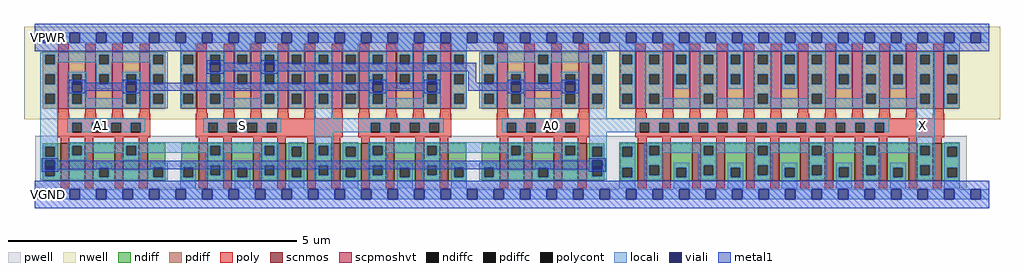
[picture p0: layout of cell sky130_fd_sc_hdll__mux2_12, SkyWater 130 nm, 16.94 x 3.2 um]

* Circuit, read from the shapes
.subckt sky130_fd_sc_hdll__mux2_12 A0 A1 S VGND VNB VPB VPWR X
XM1 n1 A1 n2 VNB sky130_fd_pr__nfet_01v8 w=0.65 l=0.15 m=4
XM2 n1 S VGND VNB sky130_fd_pr__nfet_01v8 w=0.65 l=0.15 m=4
XM3 n3 S VGND VNB sky130_fd_pr__nfet_01v8 w=0.65 l=0.15 m=2
XM4 n4 n3 VGND VNB sky130_fd_pr__nfet_01v8 w=0.65 l=0.15 m=4
XM5 n4 A0 n2 VNB sky130_fd_pr__nfet_01v8 w=0.65 l=0.15 m=4
XM6 X n2 VGND VNB sky130_fd_pr__nfet_01v8 w=0.65 l=0.15 m=12
XM7 n5 A1 n2 VPB sky130_fd_pr__pfet_01v8_hvt w=1 l=0.18 m=4
XM8 n6 S VPWR VPB sky130_fd_pr__pfet_01v8_hvt w=1 l=0.18 m=4
XM9 n3 S VPWR VPB sky130_fd_pr__pfet_01v8_hvt w=1 l=0.18 m=2
XM10 n5 n3 VPWR VPB sky130_fd_pr__pfet_01v8_hvt w=1 l=0.18 m=4
XM11 n6 A0 n2 VPB sky130_fd_pr__pfet_01v8_hvt w=1 l=0.18 m=4
XM12 X n2 VPWR VPB sky130_fd_pr__pfet_01v8_hvt w=1 l=0.18 m=12
.ends

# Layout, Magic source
magic
tech sky130A
magscale 1 2
<< nwell >>
rect -38 261 3350 582
<< pwell >>
rect 1 21 3235 203
rect 30 -17 64 21
<< scnmos >>
rect 89 47 119 177
rect 173 47 203 177
rect 277 47 307 177
rect 361 47 391 177
rect 569 47 599 177
rect 653 47 683 177
rect 757 47 787 177
rect 841 47 871 177
rect 945 47 975 177
rect 1029 47 1059 177
rect 1133 47 1163 177
rect 1217 47 1247 177
rect 1321 47 1351 177
rect 1405 47 1435 177
rect 1613 47 1643 177
rect 1697 47 1727 177
rect 1801 47 1831 177
rect 1885 47 1915 177
rect 2093 47 2123 177
rect 2177 47 2207 177
rect 2281 47 2311 177
rect 2365 47 2395 177
rect 2469 47 2499 177
rect 2553 47 2583 177
rect 2657 47 2687 177
rect 2741 47 2771 177
rect 2845 47 2875 177
rect 2929 47 2959 177
rect 3033 47 3063 177
rect 3117 47 3147 177
<< scpmoshvt >>
rect 81 297 117 497
rect 175 297 211 497
rect 269 297 305 497
rect 363 297 399 497
rect 561 297 597 497
rect 655 297 691 497
rect 749 297 785 497
rect 843 297 879 497
rect 937 297 973 497
rect 1031 297 1067 497
rect 1125 297 1161 497
rect 1219 297 1255 497
rect 1313 297 1349 497
rect 1407 297 1443 497
rect 1605 297 1641 497
rect 1699 297 1735 497
rect 1793 297 1829 497
rect 1887 297 1923 497
rect 2085 297 2121 497
rect 2179 297 2215 497
rect 2273 297 2309 497
rect 2367 297 2403 497
rect 2461 297 2497 497
rect 2555 297 2591 497
rect 2649 297 2685 497
rect 2743 297 2779 497
rect 2837 297 2873 497
rect 2931 297 2967 497
rect 3025 297 3061 497
rect 3119 297 3155 497
<< ndiff >>
rect 27 165 89 177
rect 27 131 35 165
rect 69 131 89 165
rect 27 97 89 131
rect 27 63 35 97
rect 69 63 89 97
rect 27 47 89 63
rect 119 169 173 177
rect 119 135 129 169
rect 163 135 173 169
rect 119 47 173 135
rect 203 93 277 177
rect 203 59 223 93
rect 257 59 277 93
rect 203 47 277 59
rect 307 169 361 177
rect 307 135 317 169
rect 351 135 361 169
rect 307 47 361 135
rect 391 94 453 177
rect 391 60 411 94
rect 445 60 453 94
rect 391 47 453 60
rect 507 94 569 177
rect 507 60 515 94
rect 549 60 569 94
rect 507 47 569 60
rect 599 169 653 177
rect 599 135 609 169
rect 643 135 653 169
rect 599 101 653 135
rect 599 67 609 101
rect 643 67 653 101
rect 599 47 653 67
rect 683 93 757 177
rect 683 59 703 93
rect 737 59 757 93
rect 683 47 757 59
rect 787 169 841 177
rect 787 135 797 169
rect 831 135 841 169
rect 787 101 841 135
rect 787 67 797 101
rect 831 67 841 101
rect 787 47 841 67
rect 871 165 945 177
rect 871 131 891 165
rect 925 131 945 165
rect 871 93 945 131
rect 871 59 891 93
rect 925 59 945 93
rect 871 47 945 59
rect 975 169 1029 177
rect 975 135 985 169
rect 1019 135 1029 169
rect 975 101 1029 135
rect 975 67 985 101
rect 1019 67 1029 101
rect 975 47 1029 67
rect 1059 165 1133 177
rect 1059 131 1079 165
rect 1113 131 1133 165
rect 1059 93 1133 131
rect 1059 59 1079 93
rect 1113 59 1133 93
rect 1059 47 1133 59
rect 1163 169 1217 177
rect 1163 135 1173 169
rect 1207 135 1217 169
rect 1163 101 1217 135
rect 1163 67 1173 101
rect 1207 67 1217 101
rect 1163 47 1217 67
rect 1247 93 1321 177
rect 1247 59 1267 93
rect 1301 59 1321 93
rect 1247 47 1321 59
rect 1351 169 1405 177
rect 1351 135 1361 169
rect 1395 135 1405 169
rect 1351 101 1405 135
rect 1351 67 1361 101
rect 1395 67 1405 101
rect 1351 47 1405 67
rect 1435 94 1497 177
rect 1435 60 1455 94
rect 1489 60 1497 94
rect 1435 47 1497 60
rect 1551 94 1613 177
rect 1551 60 1559 94
rect 1593 60 1613 94
rect 1551 47 1613 60
rect 1643 169 1697 177
rect 1643 135 1653 169
rect 1687 135 1697 169
rect 1643 47 1697 135
rect 1727 93 1801 177
rect 1727 59 1747 93
rect 1781 59 1801 93
rect 1727 47 1801 59
rect 1831 169 1885 177
rect 1831 135 1841 169
rect 1875 135 1885 169
rect 1831 47 1885 135
rect 1915 165 1977 177
rect 1915 131 1935 165
rect 1969 131 1977 165
rect 1915 97 1977 131
rect 1915 63 1935 97
rect 1969 63 1977 97
rect 1915 47 1977 63
rect 2031 165 2093 177
rect 2031 131 2039 165
rect 2073 131 2093 165
rect 2031 93 2093 131
rect 2031 59 2039 93
rect 2073 59 2093 93
rect 2031 47 2093 59
rect 2123 169 2177 177
rect 2123 135 2133 169
rect 2167 135 2177 169
rect 2123 101 2177 135
rect 2123 67 2133 101
rect 2167 67 2177 101
rect 2123 47 2177 67
rect 2207 93 2281 177
rect 2207 59 2227 93
rect 2261 59 2281 93
rect 2207 47 2281 59
rect 2311 169 2365 177
rect 2311 135 2321 169
rect 2355 135 2365 169
rect 2311 101 2365 135
rect 2311 67 2321 101
rect 2355 67 2365 101
rect 2311 47 2365 67
rect 2395 93 2469 177
rect 2395 59 2415 93
rect 2449 59 2469 93
rect 2395 47 2469 59
rect 2499 169 2553 177
rect 2499 135 2509 169
rect 2543 135 2553 169
rect 2499 101 2553 135
rect 2499 67 2509 101
rect 2543 67 2553 101
rect 2499 47 2553 67
rect 2583 93 2657 177
rect 2583 59 2603 93
rect 2637 59 2657 93
rect 2583 47 2657 59
rect 2687 169 2741 177
rect 2687 135 2697 169
rect 2731 135 2741 169
rect 2687 101 2741 135
rect 2687 67 2697 101
rect 2731 67 2741 101
rect 2687 47 2741 67
rect 2771 94 2845 177
rect 2771 60 2791 94
rect 2825 60 2845 94
rect 2771 47 2845 60
rect 2875 169 2929 177
rect 2875 135 2885 169
rect 2919 135 2929 169
rect 2875 101 2929 135
rect 2875 67 2885 101
rect 2919 67 2929 101
rect 2875 47 2929 67
rect 2959 93 3033 177
rect 2959 59 2979 93
rect 3013 59 3033 93
rect 2959 47 3033 59
rect 3063 169 3117 177
rect 3063 135 3073 169
rect 3107 135 3117 169
rect 3063 101 3117 135
rect 3063 67 3073 101
rect 3107 67 3117 101
rect 3063 47 3117 67
rect 3147 165 3209 177
rect 3147 131 3167 165
rect 3201 131 3209 165
rect 3147 93 3209 131
rect 3147 59 3167 93
rect 3201 59 3209 93
rect 3147 47 3209 59
<< pdiff >>
rect 27 485 81 497
rect 27 451 35 485
rect 69 451 81 485
rect 27 417 81 451
rect 27 383 35 417
rect 69 383 81 417
rect 27 349 81 383
rect 27 315 35 349
rect 69 315 81 349
rect 27 297 81 315
rect 117 417 175 497
rect 117 383 129 417
rect 163 383 175 417
rect 117 349 175 383
rect 117 315 129 349
rect 163 315 175 349
rect 117 297 175 315
rect 211 485 269 497
rect 211 451 223 485
rect 257 451 269 485
rect 211 417 269 451
rect 211 383 223 417
rect 257 383 269 417
rect 211 297 269 383
rect 305 417 363 497
rect 305 383 317 417
rect 351 383 363 417
rect 305 349 363 383
rect 305 315 317 349
rect 351 315 363 349
rect 305 297 363 315
rect 399 485 453 497
rect 399 451 411 485
rect 445 451 453 485
rect 399 417 453 451
rect 399 383 411 417
rect 445 383 453 417
rect 399 349 453 383
rect 399 315 411 349
rect 445 315 453 349
rect 399 297 453 315
rect 507 485 561 497
rect 507 451 515 485
rect 549 451 561 485
rect 507 417 561 451
rect 507 383 515 417
rect 549 383 561 417
rect 507 349 561 383
rect 507 315 515 349
rect 549 315 561 349
rect 507 297 561 315
rect 597 485 655 497
rect 597 451 609 485
rect 643 451 655 485
rect 597 417 655 451
rect 597 383 609 417
rect 643 383 655 417
rect 597 349 655 383
rect 597 315 609 349
rect 643 315 655 349
rect 597 297 655 315
rect 691 485 749 497
rect 691 451 703 485
rect 737 451 749 485
rect 691 417 749 451
rect 691 383 703 417
rect 737 383 749 417
rect 691 297 749 383
rect 785 485 843 497
rect 785 451 797 485
rect 831 451 843 485
rect 785 417 843 451
rect 785 383 797 417
rect 831 383 843 417
rect 785 349 843 383
rect 785 315 797 349
rect 831 315 843 349
rect 785 297 843 315
rect 879 485 937 497
rect 879 451 891 485
rect 925 451 937 485
rect 879 417 937 451
rect 879 383 891 417
rect 925 383 937 417
rect 879 349 937 383
rect 879 315 891 349
rect 925 315 937 349
rect 879 297 937 315
rect 973 485 1031 497
rect 973 451 985 485
rect 1019 451 1031 485
rect 973 417 1031 451
rect 973 383 985 417
rect 1019 383 1031 417
rect 973 349 1031 383
rect 973 315 985 349
rect 1019 315 1031 349
rect 973 297 1031 315
rect 1067 485 1125 497
rect 1067 451 1079 485
rect 1113 451 1125 485
rect 1067 417 1125 451
rect 1067 383 1079 417
rect 1113 383 1125 417
rect 1067 349 1125 383
rect 1067 315 1079 349
rect 1113 315 1125 349
rect 1067 297 1125 315
rect 1161 485 1219 497
rect 1161 451 1173 485
rect 1207 451 1219 485
rect 1161 417 1219 451
rect 1161 383 1173 417
rect 1207 383 1219 417
rect 1161 349 1219 383
rect 1161 315 1173 349
rect 1207 315 1219 349
rect 1161 297 1219 315
rect 1255 485 1313 497
rect 1255 451 1267 485
rect 1301 451 1313 485
rect 1255 417 1313 451
rect 1255 383 1267 417
rect 1301 383 1313 417
rect 1255 297 1313 383
rect 1349 485 1407 497
rect 1349 451 1361 485
rect 1395 451 1407 485
rect 1349 417 1407 451
rect 1349 383 1361 417
rect 1395 383 1407 417
rect 1349 349 1407 383
rect 1349 315 1361 349
rect 1395 315 1407 349
rect 1349 297 1407 315
rect 1443 485 1497 497
rect 1443 451 1455 485
rect 1489 451 1497 485
rect 1443 417 1497 451
rect 1443 383 1455 417
rect 1489 383 1497 417
rect 1443 349 1497 383
rect 1443 315 1455 349
rect 1489 315 1497 349
rect 1443 297 1497 315
rect 1551 485 1605 497
rect 1551 451 1559 485
rect 1593 451 1605 485
rect 1551 417 1605 451
rect 1551 383 1559 417
rect 1593 383 1605 417
rect 1551 349 1605 383
rect 1551 315 1559 349
rect 1593 315 1605 349
rect 1551 297 1605 315
rect 1641 417 1699 497
rect 1641 383 1653 417
rect 1687 383 1699 417
rect 1641 349 1699 383
rect 1641 315 1653 349
rect 1687 315 1699 349
rect 1641 297 1699 315
rect 1735 485 1793 497
rect 1735 451 1747 485
rect 1781 451 1793 485
rect 1735 417 1793 451
rect 1735 383 1747 417
rect 1781 383 1793 417
rect 1735 297 1793 383
rect 1829 417 1887 497
rect 1829 383 1841 417
rect 1875 383 1887 417
rect 1829 349 1887 383
rect 1829 315 1841 349
rect 1875 315 1887 349
rect 1829 297 1887 315
rect 1923 485 1977 497
rect 1923 451 1935 485
rect 1969 451 1977 485
rect 1923 417 1977 451
rect 1923 383 1935 417
rect 1969 383 1977 417
rect 1923 349 1977 383
rect 1923 315 1935 349
rect 1969 315 1977 349
rect 1923 297 1977 315
rect 2031 485 2085 497
rect 2031 451 2039 485
rect 2073 451 2085 485
rect 2031 417 2085 451
rect 2031 383 2039 417
rect 2073 383 2085 417
rect 2031 349 2085 383
rect 2031 315 2039 349
rect 2073 315 2085 349
rect 2031 297 2085 315
rect 2121 485 2179 497
rect 2121 451 2133 485
rect 2167 451 2179 485
rect 2121 417 2179 451
rect 2121 383 2133 417
rect 2167 383 2179 417
rect 2121 349 2179 383
rect 2121 315 2133 349
rect 2167 315 2179 349
rect 2121 297 2179 315
rect 2215 485 2273 497
rect 2215 451 2227 485
rect 2261 451 2273 485
rect 2215 417 2273 451
rect 2215 383 2227 417
rect 2261 383 2273 417
rect 2215 297 2273 383
rect 2309 485 2367 497
rect 2309 451 2321 485
rect 2355 451 2367 485
rect 2309 417 2367 451
rect 2309 383 2321 417
rect 2355 383 2367 417
rect 2309 349 2367 383
rect 2309 315 2321 349
rect 2355 315 2367 349
rect 2309 297 2367 315
rect 2403 485 2461 497
rect 2403 451 2415 485
rect 2449 451 2461 485
rect 2403 417 2461 451
rect 2403 383 2415 417
rect 2449 383 2461 417
rect 2403 297 2461 383
rect 2497 485 2555 497
rect 2497 451 2509 485
rect 2543 451 2555 485
rect 2497 417 2555 451
rect 2497 383 2509 417
rect 2543 383 2555 417
rect 2497 349 2555 383
rect 2497 315 2509 349
rect 2543 315 2555 349
rect 2497 297 2555 315
rect 2591 485 2649 497
rect 2591 451 2603 485
rect 2637 451 2649 485
rect 2591 417 2649 451
rect 2591 383 2603 417
rect 2637 383 2649 417
rect 2591 297 2649 383
rect 2685 485 2743 497
rect 2685 451 2697 485
rect 2731 451 2743 485
rect 2685 417 2743 451
rect 2685 383 2697 417
rect 2731 383 2743 417
rect 2685 349 2743 383
rect 2685 315 2697 349
rect 2731 315 2743 349
rect 2685 297 2743 315
rect 2779 485 2837 497
rect 2779 451 2791 485
rect 2825 451 2837 485
rect 2779 417 2837 451
rect 2779 383 2791 417
rect 2825 383 2837 417
rect 2779 297 2837 383
rect 2873 485 2931 497
rect 2873 451 2885 485
rect 2919 451 2931 485
rect 2873 417 2931 451
rect 2873 383 2885 417
rect 2919 383 2931 417
rect 2873 349 2931 383
rect 2873 315 2885 349
rect 2919 315 2931 349
rect 2873 297 2931 315
rect 2967 485 3025 497
rect 2967 451 2979 485
rect 3013 451 3025 485
rect 2967 417 3025 451
rect 2967 383 2979 417
rect 3013 383 3025 417
rect 2967 297 3025 383
rect 3061 485 3119 497
rect 3061 451 3073 485
rect 3107 451 3119 485
rect 3061 417 3119 451
rect 3061 383 3073 417
rect 3107 383 3119 417
rect 3061 349 3119 383
rect 3061 315 3073 349
rect 3107 315 3119 349
rect 3061 297 3119 315
rect 3155 485 3209 497
rect 3155 451 3167 485
rect 3201 451 3209 485
rect 3155 417 3209 451
rect 3155 383 3167 417
rect 3201 383 3209 417
rect 3155 349 3209 383
rect 3155 315 3167 349
rect 3201 315 3209 349
rect 3155 297 3209 315
<< ndiffc >>
rect 35 131 69 165
rect 35 63 69 97
rect 129 135 163 169
rect 223 59 257 93
rect 317 135 351 169
rect 411 60 445 94
rect 515 60 549 94
rect 609 135 643 169
rect 609 67 643 101
rect 703 59 737 93
rect 797 135 831 169
rect 797 67 831 101
rect 891 131 925 165
rect 891 59 925 93
rect 985 135 1019 169
rect 985 67 1019 101
rect 1079 131 1113 165
rect 1079 59 1113 93
rect 1173 135 1207 169
rect 1173 67 1207 101
rect 1267 59 1301 93
rect 1361 135 1395 169
rect 1361 67 1395 101
rect 1455 60 1489 94
rect 1559 60 1593 94
rect 1653 135 1687 169
rect 1747 59 1781 93
rect 1841 135 1875 169
rect 1935 131 1969 165
rect 1935 63 1969 97
rect 2039 131 2073 165
rect 2039 59 2073 93
rect 2133 135 2167 169
rect 2133 67 2167 101
rect 2227 59 2261 93
rect 2321 135 2355 169
rect 2321 67 2355 101
rect 2415 59 2449 93
rect 2509 135 2543 169
rect 2509 67 2543 101
rect 2603 59 2637 93
rect 2697 135 2731 169
rect 2697 67 2731 101
rect 2791 60 2825 94
rect 2885 135 2919 169
rect 2885 67 2919 101
rect 2979 59 3013 93
rect 3073 135 3107 169
rect 3073 67 3107 101
rect 3167 131 3201 165
rect 3167 59 3201 93
<< pdiffc >>
rect 35 451 69 485
rect 35 383 69 417
rect 35 315 69 349
rect 129 383 163 417
rect 129 315 163 349
rect 223 451 257 485
rect 223 383 257 417
rect 317 383 351 417
rect 317 315 351 349
rect 411 451 445 485
rect 411 383 445 417
rect 411 315 445 349
rect 515 451 549 485
rect 515 383 549 417
rect 515 315 549 349
rect 609 451 643 485
rect 609 383 643 417
rect 609 315 643 349
rect 703 451 737 485
rect 703 383 737 417
rect 797 451 831 485
rect 797 383 831 417
rect 797 315 831 349
rect 891 451 925 485
rect 891 383 925 417
rect 891 315 925 349
rect 985 451 1019 485
rect 985 383 1019 417
rect 985 315 1019 349
rect 1079 451 1113 485
rect 1079 383 1113 417
rect 1079 315 1113 349
rect 1173 451 1207 485
rect 1173 383 1207 417
rect 1173 315 1207 349
rect 1267 451 1301 485
rect 1267 383 1301 417
rect 1361 451 1395 485
rect 1361 383 1395 417
rect 1361 315 1395 349
rect 1455 451 1489 485
rect 1455 383 1489 417
rect 1455 315 1489 349
rect 1559 451 1593 485
rect 1559 383 1593 417
rect 1559 315 1593 349
rect 1653 383 1687 417
rect 1653 315 1687 349
rect 1747 451 1781 485
rect 1747 383 1781 417
rect 1841 383 1875 417
rect 1841 315 1875 349
rect 1935 451 1969 485
rect 1935 383 1969 417
rect 1935 315 1969 349
rect 2039 451 2073 485
rect 2039 383 2073 417
rect 2039 315 2073 349
rect 2133 451 2167 485
rect 2133 383 2167 417
rect 2133 315 2167 349
rect 2227 451 2261 485
rect 2227 383 2261 417
rect 2321 451 2355 485
rect 2321 383 2355 417
rect 2321 315 2355 349
rect 2415 451 2449 485
rect 2415 383 2449 417
rect 2509 451 2543 485
rect 2509 383 2543 417
rect 2509 315 2543 349
rect 2603 451 2637 485
rect 2603 383 2637 417
rect 2697 451 2731 485
rect 2697 383 2731 417
rect 2697 315 2731 349
rect 2791 451 2825 485
rect 2791 383 2825 417
rect 2885 451 2919 485
rect 2885 383 2919 417
rect 2885 315 2919 349
rect 2979 451 3013 485
rect 2979 383 3013 417
rect 3073 451 3107 485
rect 3073 383 3107 417
rect 3073 315 3107 349
rect 3167 451 3201 485
rect 3167 383 3201 417
rect 3167 315 3201 349
<< poly >>
rect 81 497 117 523
rect 175 497 211 523
rect 269 497 305 523
rect 363 497 399 523
rect 561 497 597 523
rect 655 497 691 523
rect 749 497 785 523
rect 843 497 879 523
rect 937 497 973 523
rect 1031 497 1067 523
rect 1125 497 1161 523
rect 1219 497 1255 523
rect 1313 497 1349 523
rect 1407 497 1443 523
rect 1605 497 1641 523
rect 1699 497 1735 523
rect 1793 497 1829 523
rect 1887 497 1923 523
rect 2085 497 2121 523
rect 2179 497 2215 523
rect 2273 497 2309 523
rect 2367 497 2403 523
rect 2461 497 2497 523
rect 2555 497 2591 523
rect 2649 497 2685 523
rect 2743 497 2779 523
rect 2837 497 2873 523
rect 2931 497 2967 523
rect 3025 497 3061 523
rect 3119 497 3155 523
rect 81 282 117 297
rect 175 282 211 297
rect 269 282 305 297
rect 363 282 399 297
rect 561 282 597 297
rect 655 282 691 297
rect 749 282 785 297
rect 843 282 879 297
rect 937 282 973 297
rect 1031 282 1067 297
rect 1125 282 1161 297
rect 1219 282 1255 297
rect 1313 282 1349 297
rect 1407 282 1443 297
rect 1605 282 1641 297
rect 1699 282 1735 297
rect 1793 282 1829 297
rect 1887 282 1923 297
rect 2085 282 2121 297
rect 2179 282 2215 297
rect 2273 282 2309 297
rect 2367 282 2403 297
rect 2461 282 2497 297
rect 2555 282 2591 297
rect 2649 282 2685 297
rect 2743 282 2779 297
rect 2837 282 2873 297
rect 2931 282 2967 297
rect 3025 282 3061 297
rect 3119 282 3155 297
rect 79 265 119 282
rect 173 265 213 282
rect 267 265 307 282
rect 361 265 401 282
rect 79 249 401 265
rect 79 215 129 249
rect 163 215 197 249
rect 231 215 265 249
rect 299 215 333 249
rect 367 215 401 249
rect 79 199 401 215
rect 559 265 599 282
rect 653 265 693 282
rect 747 265 787 282
rect 841 265 881 282
rect 935 265 975 282
rect 1029 265 1069 282
rect 559 249 1069 265
rect 559 215 601 249
rect 635 215 669 249
rect 703 215 737 249
rect 771 215 805 249
rect 839 215 1069 249
rect 559 199 1069 215
rect 1123 265 1163 282
rect 1217 265 1257 282
rect 1311 265 1351 282
rect 1405 265 1445 282
rect 1123 249 1445 265
rect 1123 215 1165 249
rect 1199 215 1233 249
rect 1267 215 1301 249
rect 1335 215 1369 249
rect 1403 215 1445 249
rect 1123 199 1445 215
rect 1603 265 1643 282
rect 1697 265 1737 282
rect 1791 265 1831 282
rect 1885 265 1925 282
rect 1603 249 1925 265
rect 1603 215 1637 249
rect 1671 215 1705 249
rect 1739 215 1773 249
rect 1807 215 1841 249
rect 1875 215 1925 249
rect 1603 199 1925 215
rect 2083 265 2123 282
rect 2177 265 2217 282
rect 2271 265 2311 282
rect 2365 265 2405 282
rect 2459 265 2499 282
rect 2553 265 2593 282
rect 2647 265 2687 282
rect 2741 265 2781 282
rect 2835 265 2875 282
rect 2929 265 2969 282
rect 3023 265 3063 282
rect 3117 265 3157 282
rect 2083 249 3157 265
rect 2083 215 2099 249
rect 2133 215 2167 249
rect 2201 215 2235 249
rect 2269 215 2303 249
rect 2337 215 2371 249
rect 2405 215 2439 249
rect 2473 215 2507 249
rect 2541 215 2575 249
rect 2609 215 2643 249
rect 2677 215 2711 249
rect 2745 215 2779 249
rect 2813 215 2847 249
rect 2881 215 2915 249
rect 2949 215 3157 249
rect 2083 199 3157 215
rect 89 177 119 199
rect 173 177 203 199
rect 277 177 307 199
rect 361 177 391 199
rect 569 177 599 199
rect 653 177 683 199
rect 757 177 787 199
rect 841 177 871 199
rect 945 177 975 199
rect 1029 177 1059 199
rect 1133 177 1163 199
rect 1217 177 1247 199
rect 1321 177 1351 199
rect 1405 177 1435 199
rect 1613 177 1643 199
rect 1697 177 1727 199
rect 1801 177 1831 199
rect 1885 177 1915 199
rect 2093 177 2123 199
rect 2177 177 2207 199
rect 2281 177 2311 199
rect 2365 177 2395 199
rect 2469 177 2499 199
rect 2553 177 2583 199
rect 2657 177 2687 199
rect 2741 177 2771 199
rect 2845 177 2875 199
rect 2929 177 2959 199
rect 3033 177 3063 199
rect 3117 177 3147 199
rect 89 21 119 47
rect 173 21 203 47
rect 277 21 307 47
rect 361 21 391 47
rect 569 21 599 47
rect 653 21 683 47
rect 757 21 787 47
rect 841 21 871 47
rect 945 21 975 47
rect 1029 21 1059 47
rect 1133 21 1163 47
rect 1217 21 1247 47
rect 1321 21 1351 47
rect 1405 21 1435 47
rect 1613 21 1643 47
rect 1697 21 1727 47
rect 1801 21 1831 47
rect 1885 21 1915 47
rect 2093 21 2123 47
rect 2177 21 2207 47
rect 2281 21 2311 47
rect 2365 21 2395 47
rect 2469 21 2499 47
rect 2553 21 2583 47
rect 2657 21 2687 47
rect 2741 21 2771 47
rect 2845 21 2875 47
rect 2929 21 2959 47
rect 3033 21 3063 47
rect 3117 21 3147 47
<< polycont >>
rect 129 215 163 249
rect 197 215 231 249
rect 265 215 299 249
rect 333 215 367 249
rect 601 215 635 249
rect 669 215 703 249
rect 737 215 771 249
rect 805 215 839 249
rect 1165 215 1199 249
rect 1233 215 1267 249
rect 1301 215 1335 249
rect 1369 215 1403 249
rect 1637 215 1671 249
rect 1705 215 1739 249
rect 1773 215 1807 249
rect 1841 215 1875 249
rect 2099 215 2133 249
rect 2167 215 2201 249
rect 2235 215 2269 249
rect 2303 215 2337 249
rect 2371 215 2405 249
rect 2439 215 2473 249
rect 2507 215 2541 249
rect 2575 215 2609 249
rect 2643 215 2677 249
rect 2711 215 2745 249
rect 2779 215 2813 249
rect 2847 215 2881 249
rect 2915 215 2949 249
<< locali >>
rect 0 527 29 561
rect 63 527 121 561
rect 155 527 213 561
rect 247 527 305 561
rect 339 527 397 561
rect 431 527 489 561
rect 523 527 581 561
rect 615 527 673 561
rect 707 527 765 561
rect 799 527 857 561
rect 891 527 949 561
rect 983 527 1041 561
rect 1075 527 1133 561
rect 1167 527 1225 561
rect 1259 527 1317 561
rect 1351 527 1409 561
rect 1443 527 1501 561
rect 1535 527 1593 561
rect 1627 527 1685 561
rect 1719 527 1777 561
rect 1811 527 1869 561
rect 1903 527 1961 561
rect 1995 527 2053 561
rect 2087 527 2145 561
rect 2179 527 2237 561
rect 2271 527 2329 561
rect 2363 527 2421 561
rect 2455 527 2513 561
rect 2547 527 2605 561
rect 2639 527 2697 561
rect 2731 527 2789 561
rect 2823 527 2881 561
rect 2915 527 2973 561
rect 3007 527 3065 561
rect 3099 527 3157 561
rect 3191 527 3249 561
rect 3283 527 3312 561
rect 19 485 461 493
rect 19 451 35 485
rect 69 459 223 485
rect 69 451 79 459
rect 19 417 79 451
rect 213 451 223 459
rect 257 459 411 485
rect 257 451 267 459
rect 19 383 35 417
rect 69 383 79 417
rect 19 349 79 383
rect 19 315 35 349
rect 69 315 79 349
rect 19 165 79 315
rect 113 417 179 425
rect 113 357 129 417
rect 163 357 179 417
rect 213 417 267 451
rect 401 451 411 459
rect 445 451 461 485
rect 213 383 223 417
rect 257 383 267 417
rect 213 367 267 383
rect 301 417 367 425
rect 113 349 179 357
rect 113 315 129 349
rect 163 333 179 349
rect 301 357 317 417
rect 351 357 367 417
rect 301 349 367 357
rect 301 333 317 349
rect 163 315 317 333
rect 351 315 367 349
rect 113 299 367 315
rect 401 417 461 451
rect 401 383 411 417
rect 445 383 461 417
rect 401 349 461 383
rect 401 315 411 349
rect 445 315 461 349
rect 401 299 461 315
rect 505 485 559 527
rect 505 451 515 485
rect 549 451 559 485
rect 505 417 559 451
rect 505 383 515 417
rect 549 383 559 417
rect 505 349 559 383
rect 505 315 515 349
rect 549 315 559 349
rect 505 299 559 315
rect 593 485 659 493
rect 593 425 609 485
rect 643 425 659 485
rect 593 417 659 425
rect 593 383 609 417
rect 643 383 659 417
rect 593 349 659 383
rect 693 485 747 527
rect 693 451 703 485
rect 737 451 747 485
rect 693 417 747 451
rect 693 383 703 417
rect 737 383 747 417
rect 693 367 747 383
rect 781 485 847 493
rect 781 425 797 485
rect 831 425 847 485
rect 781 417 847 425
rect 781 383 797 417
rect 831 383 847 417
rect 593 315 609 349
rect 643 333 659 349
rect 781 349 847 383
rect 781 333 797 349
rect 643 315 797 333
rect 831 315 847 349
rect 593 299 847 315
rect 881 485 935 527
rect 881 451 891 485
rect 925 451 935 485
rect 881 417 935 451
rect 881 383 891 417
rect 925 383 935 417
rect 881 349 935 383
rect 881 315 891 349
rect 925 315 935 349
rect 881 299 935 315
rect 969 485 1035 493
rect 969 451 985 485
rect 1019 451 1035 485
rect 969 417 1035 451
rect 969 383 985 417
rect 1019 383 1035 417
rect 969 349 1035 383
rect 969 315 985 349
rect 1019 315 1035 349
rect 969 265 1035 315
rect 1069 485 1123 527
rect 1069 451 1079 485
rect 1113 451 1123 485
rect 1069 417 1123 451
rect 1069 383 1079 417
rect 1113 383 1123 417
rect 1069 349 1123 383
rect 1069 315 1079 349
rect 1113 315 1123 349
rect 1069 299 1123 315
rect 1157 485 1223 493
rect 1157 451 1173 485
rect 1207 451 1223 485
rect 1157 417 1223 451
rect 1157 357 1173 417
rect 1207 357 1223 417
rect 1257 485 1311 527
rect 1257 451 1267 485
rect 1301 451 1311 485
rect 1257 417 1311 451
rect 1257 383 1267 417
rect 1301 383 1311 417
rect 1257 367 1311 383
rect 1345 485 1411 493
rect 1345 451 1361 485
rect 1395 451 1411 485
rect 1345 417 1411 451
rect 1157 349 1223 357
rect 1157 315 1173 349
rect 1207 333 1223 349
rect 1345 357 1361 417
rect 1395 357 1411 417
rect 1345 349 1411 357
rect 1345 333 1361 349
rect 1207 315 1361 333
rect 1395 315 1411 349
rect 1157 299 1411 315
rect 1445 485 1499 527
rect 1445 451 1455 485
rect 1489 451 1499 485
rect 1445 417 1499 451
rect 1445 383 1455 417
rect 1489 383 1499 417
rect 1445 349 1499 383
rect 1445 315 1455 349
rect 1489 315 1499 349
rect 1445 299 1499 315
rect 1543 485 1985 493
rect 1543 451 1559 485
rect 1593 459 1747 485
rect 1593 451 1603 459
rect 1543 417 1603 451
rect 1737 451 1747 459
rect 1781 459 1935 485
rect 1781 451 1791 459
rect 1543 383 1559 417
rect 1593 383 1603 417
rect 1543 349 1603 383
rect 1543 315 1559 349
rect 1593 315 1603 349
rect 1543 299 1603 315
rect 1637 417 1703 425
rect 1637 357 1653 417
rect 1687 357 1703 417
rect 1737 417 1791 451
rect 1925 451 1935 459
rect 1969 451 1985 485
rect 1737 383 1747 417
rect 1781 383 1791 417
rect 1737 367 1791 383
rect 1825 417 1891 425
rect 1637 349 1703 357
rect 1637 315 1653 349
rect 1687 333 1703 349
rect 1825 357 1841 417
rect 1875 357 1891 417
rect 1825 349 1891 357
rect 1825 333 1841 349
rect 1687 315 1841 333
rect 1875 315 1891 349
rect 1637 299 1891 315
rect 1925 417 1985 451
rect 1925 383 1935 417
rect 1969 383 1985 417
rect 1925 349 1985 383
rect 1925 315 1935 349
rect 1969 315 1985 349
rect 1925 265 1985 315
rect 2029 485 2083 527
rect 2029 451 2039 485
rect 2073 451 2083 485
rect 2029 417 2083 451
rect 2029 383 2039 417
rect 2073 383 2083 417
rect 2029 349 2083 383
rect 2029 315 2039 349
rect 2073 315 2083 349
rect 2029 299 2083 315
rect 2117 485 2183 493
rect 2117 451 2133 485
rect 2167 451 2183 485
rect 2117 417 2183 451
rect 2117 383 2133 417
rect 2167 383 2183 417
rect 2117 349 2183 383
rect 2217 485 2271 527
rect 2217 451 2227 485
rect 2261 451 2271 485
rect 2217 417 2271 451
rect 2217 383 2227 417
rect 2261 383 2271 417
rect 2217 367 2271 383
rect 2305 485 2371 493
rect 2305 451 2321 485
rect 2355 451 2371 485
rect 2305 417 2371 451
rect 2305 383 2321 417
rect 2355 383 2371 417
rect 2117 315 2133 349
rect 2167 333 2183 349
rect 2305 349 2371 383
rect 2405 485 2459 527
rect 2405 451 2415 485
rect 2449 451 2459 485
rect 2405 417 2459 451
rect 2405 383 2415 417
rect 2449 383 2459 417
rect 2405 367 2459 383
rect 2493 485 2559 493
rect 2493 451 2509 485
rect 2543 451 2559 485
rect 2493 417 2559 451
rect 2493 383 2509 417
rect 2543 383 2559 417
rect 2305 333 2321 349
rect 2167 315 2321 333
rect 2355 333 2371 349
rect 2493 349 2559 383
rect 2593 485 2647 527
rect 2593 451 2603 485
rect 2637 451 2647 485
rect 2593 417 2647 451
rect 2593 383 2603 417
rect 2637 383 2647 417
rect 2593 367 2647 383
rect 2681 485 2747 493
rect 2681 451 2697 485
rect 2731 451 2747 485
rect 2681 417 2747 451
rect 2681 383 2697 417
rect 2731 383 2747 417
rect 2493 333 2509 349
rect 2355 315 2509 333
rect 2543 333 2559 349
rect 2681 349 2747 383
rect 2781 485 2835 527
rect 2781 451 2791 485
rect 2825 451 2835 485
rect 2781 417 2835 451
rect 2781 383 2791 417
rect 2825 383 2835 417
rect 2781 367 2835 383
rect 2869 485 2935 493
rect 2869 451 2885 485
rect 2919 451 2935 485
rect 2869 417 2935 451
rect 2869 383 2885 417
rect 2919 383 2935 417
rect 2681 333 2697 349
rect 2543 315 2697 333
rect 2731 333 2747 349
rect 2869 349 2935 383
rect 2969 485 3023 527
rect 2969 451 2979 485
rect 3013 451 3023 485
rect 2969 417 3023 451
rect 2969 383 2979 417
rect 3013 383 3023 417
rect 2969 367 3023 383
rect 3057 485 3123 493
rect 3057 451 3073 485
rect 3107 451 3123 485
rect 3057 417 3123 451
rect 3057 383 3073 417
rect 3107 383 3123 417
rect 2869 333 2885 349
rect 2731 315 2885 333
rect 2919 333 2935 349
rect 3057 349 3123 383
rect 3057 333 3073 349
rect 2919 315 3073 333
rect 3107 315 3123 349
rect 2117 299 3123 315
rect 3157 485 3211 527
rect 3157 451 3167 485
rect 3201 451 3211 485
rect 3157 417 3211 451
rect 3157 383 3167 417
rect 3201 383 3211 417
rect 3157 349 3211 383
rect 3157 315 3167 349
rect 3201 315 3211 349
rect 3157 299 3211 315
rect 113 249 383 265
rect 113 215 129 249
rect 163 215 197 249
rect 231 215 265 249
rect 299 215 333 249
rect 367 215 383 249
rect 585 249 855 265
rect 585 215 601 249
rect 635 215 669 249
rect 703 215 737 249
rect 771 215 805 249
rect 839 215 855 249
rect 969 249 1419 265
rect 969 215 1165 249
rect 1199 215 1233 249
rect 1267 215 1301 249
rect 1335 215 1369 249
rect 1403 215 1419 249
rect 1621 249 1891 265
rect 1621 215 1637 249
rect 1671 215 1705 249
rect 1739 215 1773 249
rect 1807 215 1841 249
rect 1875 215 1891 249
rect 1925 249 2965 265
rect 1925 215 2099 249
rect 2133 215 2167 249
rect 2201 215 2235 249
rect 2269 215 2303 249
rect 2337 215 2371 249
rect 2405 215 2439 249
rect 2473 215 2507 249
rect 2541 215 2575 249
rect 2609 215 2643 249
rect 2677 215 2711 249
rect 2745 215 2779 249
rect 2813 215 2847 249
rect 2881 215 2915 249
rect 2949 215 2965 249
rect 19 131 35 165
rect 69 131 79 165
rect 19 119 79 131
rect 113 169 847 181
rect 113 135 129 169
rect 163 145 317 169
rect 163 135 179 145
rect 113 119 179 135
rect 301 135 317 145
rect 351 145 609 169
rect 351 135 367 145
rect 301 119 367 135
rect 593 135 609 145
rect 643 145 797 169
rect 643 135 659 145
rect 19 63 35 119
rect 69 85 79 119
rect 213 93 267 109
rect 213 85 223 93
rect 69 63 223 85
rect 19 59 223 63
rect 257 85 267 93
rect 401 94 461 110
rect 401 85 411 94
rect 257 60 411 85
rect 445 60 461 94
rect 257 59 461 60
rect 19 51 461 59
rect 505 94 559 110
rect 505 60 515 94
rect 549 60 559 94
rect 505 17 559 60
rect 593 101 659 135
rect 781 135 797 145
rect 831 135 847 169
rect 593 67 609 101
rect 643 67 659 101
rect 593 51 659 67
rect 693 93 747 109
rect 693 59 703 93
rect 737 59 747 93
rect 693 17 747 59
rect 781 101 847 135
rect 781 67 797 101
rect 831 67 847 101
rect 781 51 847 67
rect 881 165 935 181
rect 881 131 891 165
rect 925 131 935 165
rect 881 93 935 131
rect 881 59 891 93
rect 925 59 935 93
rect 881 17 935 59
rect 969 169 1035 215
rect 969 135 985 169
rect 1019 135 1035 169
rect 969 101 1035 135
rect 969 67 985 101
rect 1019 67 1035 101
rect 969 51 1035 67
rect 1069 165 1123 181
rect 1069 131 1079 165
rect 1113 131 1123 165
rect 1069 93 1123 131
rect 1069 59 1079 93
rect 1113 59 1123 93
rect 1069 17 1123 59
rect 1157 169 1891 181
rect 1157 135 1173 169
rect 1207 145 1361 169
rect 1207 135 1223 145
rect 1157 101 1223 135
rect 1345 135 1361 145
rect 1395 145 1653 169
rect 1395 135 1411 145
rect 1157 67 1173 101
rect 1207 67 1223 101
rect 1157 51 1223 67
rect 1257 93 1311 109
rect 1257 59 1267 93
rect 1301 59 1311 93
rect 1257 17 1311 59
rect 1345 101 1411 135
rect 1637 135 1653 145
rect 1687 145 1841 169
rect 1687 135 1703 145
rect 1637 119 1703 135
rect 1825 135 1841 145
rect 1875 135 1891 169
rect 1825 119 1891 135
rect 1925 165 1985 215
rect 3057 181 3123 299
rect 1925 131 1935 165
rect 1969 131 1985 165
rect 1925 119 1985 131
rect 1345 67 1361 101
rect 1395 67 1411 101
rect 1345 51 1411 67
rect 1445 94 1499 110
rect 1445 60 1455 94
rect 1489 60 1499 94
rect 1445 17 1499 60
rect 1543 94 1603 110
rect 1543 60 1559 94
rect 1593 85 1603 94
rect 1737 93 1791 109
rect 1737 85 1747 93
rect 1593 60 1747 85
rect 1543 59 1747 60
rect 1781 85 1791 93
rect 1925 85 1935 119
rect 1781 63 1935 85
rect 1969 63 1985 119
rect 1781 59 1985 63
rect 1543 51 1985 59
rect 2029 165 2083 181
rect 2029 131 2039 165
rect 2073 131 2083 165
rect 2029 93 2083 131
rect 2029 59 2039 93
rect 2073 59 2083 93
rect 2029 17 2083 59
rect 2117 169 3123 181
rect 2117 135 2133 169
rect 2167 145 2321 169
rect 2167 135 2183 145
rect 2117 101 2183 135
rect 2305 135 2321 145
rect 2355 145 2509 169
rect 2355 135 2371 145
rect 2117 67 2133 101
rect 2167 67 2183 101
rect 2117 51 2183 67
rect 2217 93 2271 109
rect 2217 59 2227 93
rect 2261 59 2271 93
rect 2217 17 2271 59
rect 2305 101 2371 135
rect 2493 135 2509 145
rect 2543 145 2697 169
rect 2543 135 2559 145
rect 2305 67 2321 101
rect 2355 67 2371 101
rect 2305 51 2371 67
rect 2405 93 2459 109
rect 2405 59 2415 93
rect 2449 59 2459 93
rect 2405 17 2459 59
rect 2493 101 2559 135
rect 2681 135 2697 145
rect 2731 145 2885 169
rect 2731 135 2747 145
rect 2493 67 2509 101
rect 2543 67 2559 101
rect 2493 51 2559 67
rect 2593 93 2647 109
rect 2593 59 2603 93
rect 2637 59 2647 93
rect 2593 17 2647 59
rect 2681 101 2747 135
rect 2869 135 2885 145
rect 2919 145 3073 169
rect 2919 135 2935 145
rect 2681 67 2697 101
rect 2731 67 2747 101
rect 2681 51 2747 67
rect 2781 94 2835 110
rect 2781 60 2791 94
rect 2825 60 2835 94
rect 2781 17 2835 60
rect 2869 101 2935 135
rect 3057 135 3073 145
rect 3107 135 3123 169
rect 2869 67 2885 101
rect 2919 67 2935 101
rect 2869 51 2935 67
rect 2969 93 3023 109
rect 2969 59 2979 93
rect 3013 59 3023 93
rect 2969 17 3023 59
rect 3057 101 3123 135
rect 3057 67 3073 101
rect 3107 67 3123 101
rect 3057 51 3123 67
rect 3157 165 3211 181
rect 3157 131 3167 165
rect 3201 131 3211 165
rect 3157 93 3211 131
rect 3157 59 3167 93
rect 3201 59 3211 93
rect 3157 17 3211 59
rect 0 -17 29 17
rect 63 -17 121 17
rect 155 -17 213 17
rect 247 -17 305 17
rect 339 -17 397 17
rect 431 -17 489 17
rect 523 -17 581 17
rect 615 -17 673 17
rect 707 -17 765 17
rect 799 -17 857 17
rect 891 -17 949 17
rect 983 -17 1041 17
rect 1075 -17 1133 17
rect 1167 -17 1225 17
rect 1259 -17 1317 17
rect 1351 -17 1409 17
rect 1443 -17 1501 17
rect 1535 -17 1593 17
rect 1627 -17 1685 17
rect 1719 -17 1777 17
rect 1811 -17 1869 17
rect 1903 -17 1961 17
rect 1995 -17 2053 17
rect 2087 -17 2145 17
rect 2179 -17 2237 17
rect 2271 -17 2329 17
rect 2363 -17 2421 17
rect 2455 -17 2513 17
rect 2547 -17 2605 17
rect 2639 -17 2697 17
rect 2731 -17 2789 17
rect 2823 -17 2881 17
rect 2915 -17 2973 17
rect 3007 -17 3065 17
rect 3099 -17 3157 17
rect 3191 -17 3249 17
rect 3283 -17 3312 17
<< viali >>
rect 29 527 63 561
rect 121 527 155 561
rect 213 527 247 561
rect 305 527 339 561
rect 397 527 431 561
rect 489 527 523 561
rect 581 527 615 561
rect 673 527 707 561
rect 765 527 799 561
rect 857 527 891 561
rect 949 527 983 561
rect 1041 527 1075 561
rect 1133 527 1167 561
rect 1225 527 1259 561
rect 1317 527 1351 561
rect 1409 527 1443 561
rect 1501 527 1535 561
rect 1593 527 1627 561
rect 1685 527 1719 561
rect 1777 527 1811 561
rect 1869 527 1903 561
rect 1961 527 1995 561
rect 2053 527 2087 561
rect 2145 527 2179 561
rect 2237 527 2271 561
rect 2329 527 2363 561
rect 2421 527 2455 561
rect 2513 527 2547 561
rect 2605 527 2639 561
rect 2697 527 2731 561
rect 2789 527 2823 561
rect 2881 527 2915 561
rect 2973 527 3007 561
rect 3065 527 3099 561
rect 3157 527 3191 561
rect 3249 527 3283 561
rect 129 383 163 391
rect 129 357 163 383
rect 317 383 351 391
rect 317 357 351 383
rect 609 451 643 459
rect 609 425 643 451
rect 797 451 831 459
rect 797 425 831 451
rect 1173 383 1207 391
rect 1173 357 1207 383
rect 1361 383 1395 391
rect 1361 357 1395 383
rect 1653 383 1687 391
rect 1653 357 1687 383
rect 1841 383 1875 391
rect 1841 357 1875 383
rect 35 97 69 119
rect 35 85 69 97
rect 1935 97 1969 119
rect 1935 85 1969 97
rect 29 -17 63 17
rect 121 -17 155 17
rect 213 -17 247 17
rect 305 -17 339 17
rect 397 -17 431 17
rect 489 -17 523 17
rect 581 -17 615 17
rect 673 -17 707 17
rect 765 -17 799 17
rect 857 -17 891 17
rect 949 -17 983 17
rect 1041 -17 1075 17
rect 1133 -17 1167 17
rect 1225 -17 1259 17
rect 1317 -17 1351 17
rect 1409 -17 1443 17
rect 1501 -17 1535 17
rect 1593 -17 1627 17
rect 1685 -17 1719 17
rect 1777 -17 1811 17
rect 1869 -17 1903 17
rect 1961 -17 1995 17
rect 2053 -17 2087 17
rect 2145 -17 2179 17
rect 2237 -17 2271 17
rect 2329 -17 2363 17
rect 2421 -17 2455 17
rect 2513 -17 2547 17
rect 2605 -17 2639 17
rect 2697 -17 2731 17
rect 2789 -17 2823 17
rect 2881 -17 2915 17
rect 2973 -17 3007 17
rect 3065 -17 3099 17
rect 3157 -17 3191 17
rect 3249 -17 3283 17
<< metal1 >>
rect 0 561 3312 592
rect 0 527 29 561
rect 63 527 121 561
rect 155 527 213 561
rect 247 527 305 561
rect 339 527 397 561
rect 431 527 489 561
rect 523 527 581 561
rect 615 527 673 561
rect 707 527 765 561
rect 799 527 857 561
rect 891 527 949 561
rect 983 527 1041 561
rect 1075 527 1133 561
rect 1167 527 1225 561
rect 1259 527 1317 561
rect 1351 527 1409 561
rect 1443 527 1501 561
rect 1535 527 1593 561
rect 1627 527 1685 561
rect 1719 527 1777 561
rect 1811 527 1869 561
rect 1903 527 1961 561
rect 1995 527 2053 561
rect 2087 527 2145 561
rect 2179 527 2237 561
rect 2271 527 2329 561
rect 2363 527 2421 561
rect 2455 527 2513 561
rect 2547 527 2605 561
rect 2639 527 2697 561
rect 2731 527 2789 561
rect 2823 527 2881 561
rect 2915 527 2973 561
rect 3007 527 3065 561
rect 3099 527 3157 561
rect 3191 527 3249 561
rect 3283 527 3312 561
rect 0 496 3312 527
rect 597 459 655 465
rect 597 425 609 459
rect 643 456 655 459
rect 785 459 843 465
rect 785 456 797 459
rect 643 428 797 456
rect 643 425 655 428
rect 597 419 655 425
rect 785 425 797 428
rect 831 456 843 459
rect 831 428 1532 456
rect 831 425 843 428
rect 785 419 843 425
rect 117 391 175 397
rect 117 357 129 391
rect 163 388 175 391
rect 305 391 363 397
rect 305 388 317 391
rect 163 360 317 388
rect 163 357 175 360
rect 117 351 175 357
rect 305 357 317 360
rect 351 388 363 391
rect 1161 391 1219 397
rect 1161 388 1173 391
rect 351 360 1173 388
rect 351 357 363 360
rect 305 351 363 357
rect 1161 357 1173 360
rect 1207 388 1219 391
rect 1349 391 1407 397
rect 1349 388 1361 391
rect 1207 360 1361 388
rect 1207 357 1219 360
rect 1161 351 1219 357
rect 1349 357 1361 360
rect 1395 357 1407 391
rect 1504 388 1532 428
rect 1641 391 1699 397
rect 1641 388 1653 391
rect 1504 360 1653 388
rect 1349 351 1407 357
rect 1641 357 1653 360
rect 1687 388 1699 391
rect 1829 391 1887 397
rect 1829 388 1841 391
rect 1687 360 1841 388
rect 1687 357 1699 360
rect 1641 351 1699 357
rect 1829 357 1841 360
rect 1875 357 1887 391
rect 1829 351 1887 357
rect 23 119 81 125
rect 23 85 35 119
rect 69 116 81 119
rect 1923 119 1981 125
rect 1923 116 1935 119
rect 69 88 1935 116
rect 69 85 81 88
rect 23 79 81 85
rect 1923 85 1935 88
rect 1969 85 1981 119
rect 1923 79 1981 85
rect 0 17 3312 48
rect 0 -17 29 17
rect 63 -17 121 17
rect 155 -17 213 17
rect 247 -17 305 17
rect 339 -17 397 17
rect 431 -17 489 17
rect 523 -17 581 17
rect 615 -17 673 17
rect 707 -17 765 17
rect 799 -17 857 17
rect 891 -17 949 17
rect 983 -17 1041 17
rect 1075 -17 1133 17
rect 1167 -17 1225 17
rect 1259 -17 1317 17
rect 1351 -17 1409 17
rect 1443 -17 1501 17
rect 1535 -17 1593 17
rect 1627 -17 1685 17
rect 1719 -17 1777 17
rect 1811 -17 1869 17
rect 1903 -17 1961 17
rect 1995 -17 2053 17
rect 2087 -17 2145 17
rect 2179 -17 2237 17
rect 2271 -17 2329 17
rect 2363 -17 2421 17
rect 2455 -17 2513 17
rect 2547 -17 2605 17
rect 2639 -17 2697 17
rect 2731 -17 2789 17
rect 2823 -17 2881 17
rect 2915 -17 2973 17
rect 3007 -17 3065 17
rect 3099 -17 3157 17
rect 3191 -17 3249 17
rect 3283 -17 3312 17
rect 0 -48 3312 -17
<< labels >>
flabel metal1 s 30 527 64 561 0 FreeSans 200 0 0 0 VPWR
port 7 nsew power bidirectional
flabel metal1 s 30 -17 64 17 0 FreeSans 200 0 0 0 VGND
port 4 nsew ground bidirectional
flabel nwell s 30 527 64 561 0 FreeSans 200 0 0 0 VPB
port 6 nsew power bidirectional
flabel pwell s 30 -17 64 17 0 FreeSans 200 0 0 0 VNB
port 5 nsew ground bidirectional
flabel locali s 3065 221 3099 255 0 FreeSans 200 0 0 0 X
port 8 nsew signal output
flabel locali s 703 221 737 255 0 FreeSans 200 0 0 0 S
port 3 nsew signal input
flabel locali s 213 221 247 255 0 FreeSans 200 0 0 0 A1
port 2 nsew signal input
flabel locali s 1777 221 1811 255 0 FreeSans 200 0 0 0 A0
port 1 nsew signal input
rlabel comment s 0 0 0 0 4 mux2_12
<< properties >>
string LEFsite unithd
string LEFclass CORE
string FIXED_BBOX 0 0 3312 544
string GDS_FILE $PDKPATH/libs.ref/sky130_fd_sc_hdll/gds/sky130_fd_sc_hdll.gds
string LEFsymmetry X Y R90
string GDS_END 1104514
string GDS_START 1079772
string LEFproperties maskLayoutSubType "abstract" prCellType "standard" originalViewName "layout"
<< end >>
